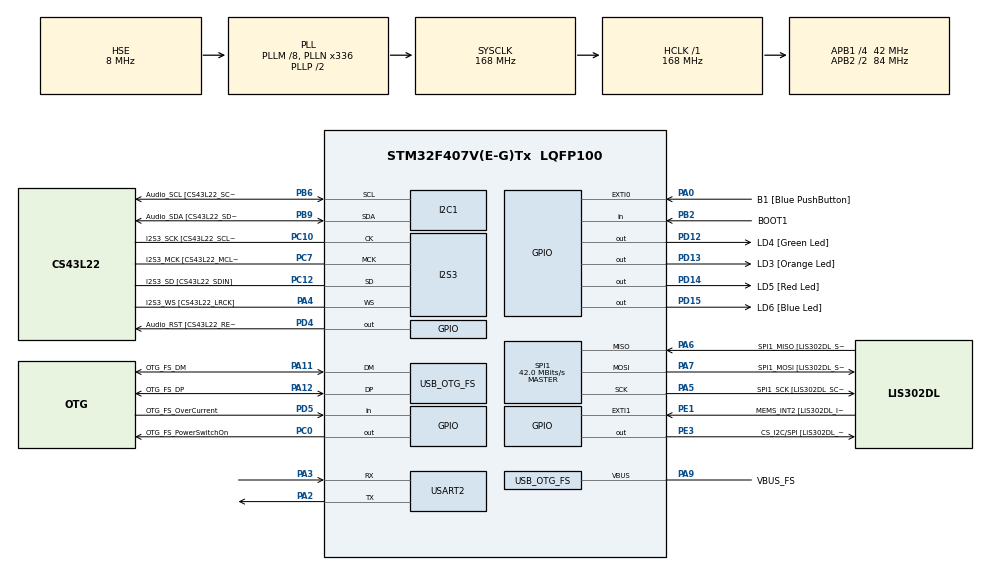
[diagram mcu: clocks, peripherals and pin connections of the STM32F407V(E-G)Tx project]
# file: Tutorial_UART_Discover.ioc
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Dma.Request0=USART2_RX
Dma.Request1=USART2_TX
Dma.USART2_RX.0.Direction=DMA_PERIPH_TO_MEMORY
Dma.USART2_RX.0.FIFOMode=DMA_FIFOMODE_DISABLE
Dma.USART2_RX.0.Instance=DMA1_Stream5
Dma.USART2_RX.0.MemDataAlignment=DMA_MDATAALIGN_BYTE
Dma.USART2_RX.0.MemInc=DMA_MINC_ENABLE
Dma.USART2_RX.0.Mode=DMA_NORMAL
Dma.USART2_RX.0.PeriphDataAlignment=DMA_PDATAALIGN_BYTE
Dma.USART2_RX.0.PeriphInc=DMA_PINC_DISABLE
Dma.USART2_RX.0.Priority=DMA_PRIORITY_LOW
Dma.USART2_TX.1.Direction=DMA_MEMORY_TO_PERIPH
Dma.USART2_TX.1.FIFOMode=DMA_FIFOMODE_DISABLE
Dma.USART2_TX.1.Instance=DMA1_Stream6
Dma.USART2_TX.1.MemDataAlignment=DMA_MDATAALIGN_BYTE
Dma.USART2_TX.1.MemInc=DMA_MINC_ENABLE
Dma.USART2_TX.1.Mode=DMA_NORMAL
Dma.USART2_TX.1.PeriphDataAlignment=DMA_PDATAALIGN_BYTE
Dma.USART2_TX.1.PeriphInc=DMA_PINC_DISABLE
Dma.USART2_TX.1.Priority=DMA_PRIORITY_LOW
I2S3.AudioFreq=I2S_AUDIOFREQ_96K
I2S3.AudioFreq-Half_Duplex_Master=I2S_AUDIOFREQ_96K
I2S3.ErrorAudioFreq=-2.34 %
I2S3.ErrorAudioFreq-Half_Duplex_Master=0.8 %
I2S3.FullDuplexMode=I2S_FULLDUPLEXMODE_DISABLE
I2S3.Instance=SPI$Index
I2S3.RealAudioFreq=93.75 KHz
I2S3.RealAudioFreq-Half_Duplex_Master=96.774 KHz
I2S3.VirtualMode=I2S_MODE_MASTER
Mcu.Family=STM32F4
Mcu.Name=STM32F407V(E-G)Tx
Mcu.Package=LQFP100
NVIC.DMA1_Stream5_IRQn=true\:0\:0\:false\:false\:true\:false\:true\:true
NVIC.DMA1_Stream6_IRQn=true\:0\:0\:false\:false\:true\:false\:true\:true
NVIC.EXTI0_IRQn=true\:0\:0\:false\:false\:true\:true\:true\:true
NVIC.OTG_FS_IRQn=true\:0\:0\:false\:false\:true\:true\:true\:true
NVIC.PriorityGroup=NVIC_PRIORITYGROUP_0
NVIC.USART2_IRQn=true\:0\:0\:false\:false\:true\:true\:true\:true
PA0-WKUP.GPIO_Label=B1 [Blue PushButton]
PA0-WKUP.GPIO_ModeDefaultEXTI=GPIO_MODE_IT_FALLING
PA0-WKUP.Signal=GPXTI0
PA10.GPIO_Label=OTG_FS_ID
PA10.GPIO_Mode=GPIO_MODE_AF_PP
PA10.GPIO_PuPd=GPIO_NOPULL
PA10.GPIO_Speed=GPIO_SPEED_FREQ_LOW
PA10.Signal=USB_OTG_FS_ID
PA11.GPIO_Label=OTG_FS_DM
PA11.GPIO_Mode=GPIO_MODE_AF_PP
PA11.GPIO_PuPd=GPIO_NOPULL
PA11.GPIO_Speed=GPIO_SPEED_FREQ_LOW
PA11.Mode=Host_Only
PA11.Signal=USB_OTG_FS_DM
PA12.GPIO_Label=OTG_FS_DP
PA12.GPIO_Mode=GPIO_MODE_AF_PP
PA12.GPIO_PuPd=GPIO_NOPULL
PA12.GPIO_Speed=GPIO_SPEED_FREQ_LOW
PA12.Mode=Host_Only
PA12.Signal=USB_OTG_FS_DP
PA13.GPIO_Label=SWDIO
PA13.Mode=Serial_Wire
PA13.Signal=SYS_JTMS-SWDIO
PA14.GPIO_Label=SWCLK
PA14.Mode=Serial_Wire
PA14.Signal=SYS_JTCK-SWCLK
PA2.GPIO_Speed=GPIO_SPEED_FREQ_HIGH
PA2.Mode=Asynchronous
PA2.Signal=USART2_TX
PA3.GPIO_Speed=GPIO_SPEED_FREQ_HIGH
PA3.Mode=Asynchronous
PA3.Signal=USART2_RX
PA4.GPIO_Label=I2S3_WS [CS43L22_LRCK]
PA4.GPIO_Mode=GPIO_MODE_AF_PP
PA4.GPIO_PuPd=GPIO_NOPULL
PA4.GPIO_Speed=GPIO_SPEED_FREQ_LOW
PA4.Mode=Half_Duplex_Master
PA4.Signal=I2S3_WS
PA5.GPIO_Label=SPI1_SCK [LIS302DL_SCL/SPC]
PA5.GPIO_Mode=GPIO_MODE_AF_PP
PA5.GPIO_PuPd=GPIO_NOPULL
PA5.GPIO_Speed=GPIO_SPEED_FREQ_LOW
PA5.Mode=Full_Duplex_Master
PA5.Signal=SPI1_SCK
PA6.GPIO_Label=SPI1_MISO [LIS302DL_SDO]
PA6.GPIO_Mode=GPIO_MODE_AF_PP
PA6.GPIO_PuPd=GPIO_NOPULL
PA6.GPIO_Speed=GPIO_SPEED_FREQ_LOW
PA6.Mode=Full_Duplex_Master
PA6.Signal=SPI1_MISO
PA7.GPIO_Label=SPI1_MOSI [LIS302DL_SDA/SDI/SDO]
PA7.GPIO_Mode=GPIO_MODE_AF_PP
PA7.GPIO_PuPd=GPIO_NOPULL
PA7.GPIO_Speed=GPIO_SPEED_FREQ_LOW
PA7.Mode=Full_Duplex_Master
PA7.Signal=SPI1_MOSI
PA9.GPIO_Label=VBUS_FS
PA9.GPIO_Mode=GPIO_MODE_INPUT
PA9.GPIO_PuPd=GPIO_NOPULL
PA9.Mode=Activate_VBUS
PA9.Signal=USB_OTG_FS_VBUS
PB10.GPIO_Label=CLK_IN [MP45DT02_CLK]
PB10.GPIO_Mode=GPIO_MODE_AF_PP
PB10.GPIO_PuPd=GPIO_NOPULL
PB10.GPIO_Speed=GPIO_SPEED_FREQ_LOW
PB10.Signal=I2S2_CK
PB2.GPIO_Label=BOOT1
PB2.GPIO_Mode=GPIO_MODE_INPUT
PB2.GPIO_PuPd=GPIO_NOPULL
PB2.Signal=GPIO_Input
PB3.GPIO_Label=SWO
PB3.Signal=SYS_JTDO-SWO
PB6.GPIO_Label=Audio_SCL [CS43L22_SCL]
PB6.GPIO_Mode=GPIO_MODE_AF_OD
PB6.GPIO_Pu=GPIO_PULLUP
PB6.GPIO_PuPd=GPIO_NOPULL
PB6.GPIO_Speed=GPIO_SPEED_FREQ_LOW
PB6.Mode=I2C
PB6.Signal=I2C1_SCL
PB9.GPIO_Label=Audio_SDA [CS43L22_SDA]
PB9.GPIO_Mode=GPIO_MODE_AF_OD
PB9.GPIO_Pu=GPIO_PULLUP
PB9.GPIO_PuPd=GPIO_NOPULL
PB9.GPIO_Speed=GPIO_SPEED_FREQ_LOW
PB9.Mode=I2C
PB9.Signal=I2C1_SDA
PC0.GPIO_Label=OTG_FS_PowerSwitchOn
PC0.GPIO_PuPd=GPIO_NOPULL
PC0.GPIO_Speed=GPIO_SPEED_FREQ_LOW
PC0.PinState=GPIO_PIN_SET
PC0.Signal=GPIO_Output
PC10.GPIO_Label=I2S3_SCK [CS43L22_SCLK]
PC10.GPIO_Mode=GPIO_MODE_AF_PP
PC10.GPIO_PuPd=GPIO_NOPULL
PC10.GPIO_Speed=GPIO_SPEED_FREQ_LOW
PC10.Mode=Half_Duplex_Master
PC10.Signal=I2S3_CK
PC12.GPIO_Label=I2S3_SD [CS43L22_SDIN]
PC12.GPIO_Mode=GPIO_MODE_AF_PP
PC12.GPIO_PuPd=GPIO_NOPULL
PC12.GPIO_Speed=GPIO_SPEED_FREQ_LOW
PC12.Mode=Half_Duplex_Master
PC12.Signal=I2S3_SD
PC14-OSC32_IN.GPIO_Label=PC14-OSC32_IN
PC14-OSC32_IN.Mode=LSE-External-Oscillator
PC14-OSC32_IN.Signal=RCC_OSC32_IN
PC15-OSC32_OUT.GPIO_Label=PC15-OSC32_OUT
PC15-OSC32_OUT.Mode=LSE-External-Oscillator
PC15-OSC32_OUT.Signal=RCC_OSC32_OUT
PC3.GPIO_Label=PDM_OUT [MP45DT02_DOUT]
PC3.GPIO_Mode=GPIO_MODE_AF_PP
PC3.GPIO_PuPd=GPIO_NOPULL
PC3.GPIO_Speed=GPIO_SPEED_FREQ_LOW
PC3.Signal=I2S2_SD
PC7.GPIO_Label=I2S3_MCK [CS43L22_MCLK]
PC7.GPIO_Mode=GPIO_MODE_AF_PP
PC7.GPIO_PuPd=GPIO_NOPULL
PC7.GPIO_Speed=GPIO_SPEED_FREQ_LOW
PC7.Mode=Master_Clock_Activated
PC7.Signal=I2S3_MCK
PD12.GPIO_Label=LD4 [Green Led]
PD12.GPIO_PuPd=GPIO_NOPULL
PD12.GPIO_Speed=GPIO_SPEED_FREQ_LOW
PD12.Signal=GPIO_Output
PD13.GPIO_Label=LD3 [Orange Led]
PD13.GPIO_PuPd=GPIO_NOPULL
PD13.GPIO_Speed=GPIO_SPEED_FREQ_LOW
PD13.Signal=GPIO_Output
PD14.GPIO_Label=LD5 [Red Led]
PD14.GPIO_PuPd=GPIO_NOPULL
PD14.GPIO_Speed=GPIO_SPEED_FREQ_LOW
PD14.Signal=GPIO_Output
PD15.GPIO_Label=LD6 [Blue Led]
PD15.GPIO_PuPd=GPIO_NOPULL
PD15.GPIO_Speed=GPIO_SPEED_FREQ_LOW
PD15.Signal=GPIO_Output
PD4.GPIO_Label=Audio_RST [CS43L22_RESET]
PD4.GPIO_PuPd=GPIO_NOPULL
PD4.GPIO_Speed=GPIO_SPEED_FREQ_LOW
PD4.Signal=GPIO_Output
PD5.GPIO_Label=OTG_FS_OverCurrent
PD5.GPIO_Mode=GPIO_MODE_INPUT
PD5.GPIO_PuPd=GPIO_NOPULL
PD5.Signal=GPIO_Input
PE1.GPIO_Label=MEMS_INT2 [LIS302DL_INT2]
PE1.GPIO_ModeDefaultEXTI=GPIO_MODE_EVT_RISING
PE1.GPIO_PuPd=GPIO_NOPULL
PE1.Signal=GPXTI1
PE3.GPIO_Label=CS_I2C/SPI [LIS302DL_CS_I2C/SPI]
PE3.GPIO_PuPd=GPIO_NOPULL
PE3.GPIO_Speed=GPIO_SPEED_FREQ_LOW
PE3.Signal=GPIO_Output
PH0-OSC_IN.GPIO_Label=PH0-OSC_IN
PH0-OSC_IN.Mode=HSE-External-Oscillator
PH0-OSC_IN.Signal=RCC_OSC_IN
PH1-OSC_OUT.GPIO_Label=PH1-OSC_OUT
PH1-OSC_OUT.Mode=HSE-External-Oscillator
PH1-OSC_OUT.Signal=RCC_OSC_OUT
ProjectManager.HeapSize=0x200
ProjectManager.StackSize=0x400
ProjectManager.TargetToolchain=STM32CubeIDE
RCC.48MHZClocksFreq_Value=48000000
RCC.AHBFreq_Value=168000000
RCC.APB1CLKDivider=RCC_HCLK_DIV4
RCC.APB1Freq_Value=42000000
RCC.APB1TimFreq_Value=84000000
RCC.APB2CLKDivider=RCC_HCLK_DIV2
RCC.APB2Freq_Value=84000000
RCC.APB2TimFreq_Value=168000000
RCC.CortexFreq_Value=168000000
RCC.HCLKFreq_Value=168000000
RCC.HSE_VALUE=8000000
RCC.HSI_VALUE=16000000
RCC.PLLM=8
RCC.PLLN=336
RCC.PLLQ=7
RCC.SYSCLKFreq_VALUE=168000000
RCC.SYSCLKSource=RCC_SYSCLKSOURCE_PLLCLK
RCC.VCOOutputFreq_Value=336000000
SPI1.BaudRatePrescaler-Full_Duplex_Master=SPI_BAUDRATEPRESCALER_2
SPI1.CalculateBaudRate=42.0 MBits/s
SPI1.CalculateBaudRate-Full_Duplex_Master=42.0 MBits/s
SPI1.Direction=SPI_DIRECTION_2LINES
SPI1.Mode=SPI_MODE_MASTER
SPI1.Mode-Full_Duplex_Master=SPI_MODE_MASTER
SPI1.VirtualType=VM_MASTER
USART2.VirtualMode=VM_ASYNC
USB_HOST.BSP.number=1
USB_HOST.USBH_HandleTypeDef-CDC_FS=hUsbHostFS
USB_HOST.VirtualModeFS=Cdc
USB_HOST0.BSP.STBoard=false
USB_HOST0.BSP.api=Unknown
USB_HOST0.BSP.instance=PC0
USB_HOST0.BSP.ip=GPIO
USB_HOST0.BSP.mode=Output
USB_HOST0.BSP.name=Drive_VBUS_FS
USB_HOST0.BSP.solution=PC0
USB_OTG_FS.VirtualMode=Host_Only
USB_OTG_FS.phy_itface=HCD_PHY_EMBEDDED
VP_USB_HOST_VS_USB_HOST_CDC_FS.Mode=CDC_FS
board=STM32F407G-DISC1

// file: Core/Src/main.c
/* USER CODE BEGIN Header */
/**
  ******************************************************************************
  * @file           : main.c
  * @brief          : Main program body
  ******************************************************************************
  * @attention
  *
  * Copyright (c) 2024 STMicroelectronics.
  * All rights reserved.
  *
  * This software is licensed under terms that can be found in the LICENSE file
  * in the root directory of this software component.
  * If no LICENSE file comes with this software, it is provided AS-IS.
  *
  ******************************************************************************
  */
/* USER CODE END Header */
#include "main.h"
#include "usb_host.h"

I2C_HandleTypeDef hi2c1;

I2S_HandleTypeDef hi2s3;

SPI_HandleTypeDef hspi1;

UART_HandleTypeDef huart2;
DMA_HandleTypeDef hdma_usart2_rx;
DMA_HandleTypeDef hdma_usart2_tx;

void SystemClock_Config(void);
static void MX_GPIO_Init(void);
static void MX_DMA_Init(void);
static void MX_I2C1_Init(void);
static void MX_I2S3_Init(void);
static void MX_SPI1_Init(void);
static void MX_USART2_UART_Init(void);
void MX_USB_HOST_Process(void);

/* USER CODE BEGIN 0 */
uint8_t rxData;
uint8_t counter = 0;
uint8_t readyToReceive = 0;
volatile uint8_t rx_complete = 0;
volatile uint8_t tx_complete = 0;
volatile uint8_t buttonPressed = 0;
uint32_t last_interrupt_time = 0;
char tabelaEquipe[3][100] = {"\nMaria Luiza, Matricula", "\nEduardo, Matricula1", "\nMarcos, Matricula2"};

void restart_uart(UART_HandleTypeDef *huart) {
	__HAL_UART_DISABLE(huart);

	HAL_UART_DeInit(huart);
	HAL_UART_Init(huart);

	__HAL_UART_ENABLE(huart);
}

void init_transmit_DMA(void) {
        if (rx_complete) {
            HAL_UART_Receive_IT(&huart2, &readyToReceive, sizeof(readyToReceive));
            if (readyToReceive == 0x5A){
            	HAL_UART_Transmit_DMA(&huart2, (uint8_t *)tabelaEquipe, sizeof(tabelaEquipe));
            	HAL_Delay(1000);

            	rx_complete = 0;
            	readyToReceive = 0;
            	rxData = 0;
            	counter = 0;

            	restart_uart(&huart2);
                HAL_UART_Receive_IT(&huart2, &rxData, sizeof(rxData));
            }
        }
}

/* USER CODE END 0 */

int main(void)
{

  /* MCU Configuration--------------------------------------------------------*/

  /* Reset of all peripherals, Initializes the Flash interface and the Systick. */
  HAL_Init();

  /* Configure the system clock */
  SystemClock_Config();

  /* Initialize all configured peripherals */
  MX_GPIO_Init();
  MX_DMA_Init();
  MX_I2C1_Init();
  MX_I2S3_Init();
  MX_SPI1_Init();
  MX_USB_HOST_Init();
  MX_USART2_UART_Init();
  /* USER CODE BEGIN 2 */
  HAL_UART_Receive_IT(&huart2, &rxData, sizeof(rxData));
  /* USER CODE END 2 */

  /* Infinite loop */
  /* USER CODE BEGIN WHILE */
  while (1)
  {
    MX_USB_HOST_Process();
    /* USER CODE BEGIN 3 */

    init_transmit_DMA();
   /* USER CODE END 3 */
  }
    /* USER CODE END WHILE */
}

void SystemClock_Config(void)
{
  RCC_OscInitTypeDef RCC_OscInitStruct = {0};
  RCC_ClkInitTypeDef RCC_ClkInitStruct = {0};

  /** Configure the main internal regulator output voltage
  */
  __HAL_RCC_PWR_CLK_ENABLE();
  __HAL_PWR_VOLTAGESCALING_CONFIG(PWR_REGULATOR_VOLTAGE_SCALE1);

  /** Initializes the RCC Oscillators according to the specified parameters
  * in the RCC_OscInitTypeDef structure.
  */
  RCC_OscInitStruct.OscillatorType = RCC_OSCILLATORTYPE_HSE;
  RCC_OscInitStruct.HSEState = RCC_HSE_ON;
  RCC_OscInitStruct.PLL.PLLState = RCC_PLL_ON;
  RCC_OscInitStruct.PLL.PLLSource = RCC_PLLSOURCE_HSE;
  RCC_OscInitStruct.PLL.PLLM = 8;
  RCC_OscInitStruct.PLL.PLLN = 336;
  RCC_OscInitStruct.PLL.PLLP = RCC_PLLP_DIV2;
  RCC_OscInitStruct.PLL.PLLQ = 7;
  if (HAL_RCC_OscConfig(&RCC_OscInitStruct) != HAL_OK)
  {
    Error_Handler();
  }

  /** Initializes the CPU, AHB and APB buses clocks
  */
  RCC_ClkInitStruct.ClockType = RCC_CLOCKTYPE_HCLK|RCC_CLOCKTYPE_SYSCLK
                              |RCC_CLOCKTYPE_PCLK1|RCC_CLOCKTYPE_PCLK2;
  RCC_ClkInitStruct.SYSCLKSource = RCC_SYSCLKSOURCE_PLLCLK;
  RCC_ClkInitStruct.AHBCLKDivider = RCC_SYSCLK_DIV1;
  RCC_ClkInitStruct.APB1CLKDivider = RCC_HCLK_DIV4;
  RCC_ClkInitStruct.APB2CLKDivider = RCC_HCLK_DIV2;

  if (HAL_RCC_ClockConfig(&RCC_ClkInitStruct, FLASH_LATENCY_5) != HAL_OK)
  {
    Error_Handler();
  }
}

static void MX_I2C1_Init(void)
{

  hi2c1.Instance = I2C1;
  hi2c1.Init.ClockSpeed = 100000;
  hi2c1.Init.DutyCycle = I2C_DUTYCYCLE_2;
  hi2c1.Init.OwnAddress1 = 0;
  hi2c1.Init.AddressingMode = I2C_ADDRESSINGMODE_7BIT;
  hi2c1.Init.DualAddressMode = I2C_DUALADDRESS_DISABLE;
  hi2c1.Init.OwnAddress2 = 0;
  hi2c1.Init.GeneralCallMode = I2C_GENERALCALL_DISABLE;
  hi2c1.Init.NoStretchMode = I2C_NOSTRETCH_DISABLE;
  if (HAL_I2C_Init(&hi2c1) != HAL_OK)
  {
    Error_Handler();
  }

}

static void MX_I2S3_Init(void)
{

  hi2s3.Instance = SPI3;
  hi2s3.Init.Mode = I2S_MODE_MASTER_TX;
  hi2s3.Init.Standard = I2S_STANDARD_PHILIPS;
  hi2s3.Init.DataFormat = I2S_DATAFORMAT_16B;
  hi2s3.Init.MCLKOutput = I2S_MCLKOUTPUT_ENABLE;
  hi2s3.Init.AudioFreq = I2S_AUDIOFREQ_96K;
  hi2s3.Init.CPOL = I2S_CPOL_LOW;
  hi2s3.Init.ClockSource = I2S_CLOCK_PLL;
  hi2s3.Init.FullDuplexMode = I2S_FULLDUPLEXMODE_DISABLE;
  if (HAL_I2S_Init(&hi2s3) != HAL_OK)
  {
    Error_Handler();
  }

}

static void MX_SPI1_Init(void)
{

  /* SPI1 parameter configuration*/
  hspi1.Instance = SPI1;
  hspi1.Init.Mode = SPI_MODE_MASTER;
  hspi1.Init.Direction = SPI_DIRECTION_2LINES;
  hspi1.Init.DataSize = SPI_DATASIZE_8BIT;
  hspi1.Init.CLKPolarity = SPI_POLARITY_LOW;
  hspi1.Init.CLKPhase = SPI_PHASE_1EDGE;
  hspi1.Init.NSS = SPI_NSS_SOFT;
  hspi1.Init.BaudRatePrescaler = SPI_BAUDRATEPRESCALER_2;
  hspi1.Init.FirstBit = SPI_FIRSTBIT_MSB;
  hspi1.Init.TIMode = SPI_TIMODE_DISABLE;
  hspi1.Init.CRCCalculation = SPI_CRCCALCULATION_DISABLE;
  hspi1.Init.CRCPolynomial = 10;
  if (HAL_SPI_Init(&hspi1) != HAL_OK)
  {
    Error_Handler();
  }

}

static void MX_USART2_UART_Init(void)
{

  huart2.Instance = USART2;
  huart2.Init.BaudRate = 115200;
  huart2.Init.WordLength = UART_WORDLENGTH_8B;
  huart2.Init.StopBits = UART_STOPBITS_1;
  huart2.Init.Parity = UART_PARITY_NONE;
  huart2.Init.Mode = UART_MODE_TX_RX;
  huart2.Init.HwFlowCtl = UART_HWCONTROL_NONE;
  huart2.Init.OverSampling = UART_OVERSAMPLING_16;
  if (HAL_UART_Init(&huart2) != HAL_OK)
  {
    Error_Handler();
  }

}

static void MX_DMA_Init(void)
{

  /* DMA controller clock enable */
  __HAL_RCC_DMA1_CLK_ENABLE();

  /* DMA interrupt init */
  /* DMA1_Stream5_IRQn interrupt configuration */
  HAL_NVIC_SetPriority(DMA1_Stream5_IRQn, 0, 0);
  HAL_NVIC_EnableIRQ(DMA1_Stream5_IRQn);
  /* DMA1_Stream6_IRQn interrupt configuration */
  HAL_NVIC_SetPriority(DMA1_Stream6_IRQn, 0, 0);
  HAL_NVIC_EnableIRQ(DMA1_Stream6_IRQn);

}

static void MX_GPIO_Init(void)
{
  GPIO_InitTypeDef GPIO_InitStruct = {0};

  /* GPIO Ports Clock Enable */
  __HAL_RCC_GPIOE_CLK_ENABLE();
  __HAL_RCC_GPIOC_CLK_ENABLE();
  __HAL_RCC_GPIOH_CLK_ENABLE();
  __HAL_RCC_GPIOA_CLK_ENABLE();
  __HAL_RCC_GPIOB_CLK_ENABLE();
  __HAL_RCC_GPIOD_CLK_ENABLE();

  /*Configure GPIO pin Output Level */
  HAL_GPIO_WritePin(CS_I2C_SPI_GPIO_Port, CS_I2C_SPI_Pin, GPIO_PIN_RESET);

  /*Configure GPIO pin Output Level */
  HAL_GPIO_WritePin(OTG_FS_PowerSwitchOn_GPIO_Port, OTG_FS_PowerSwitchOn_Pin, GPIO_PIN_SET);

  /*Configure GPIO pin Output Level */
  HAL_GPIO_WritePin(GPIOD, LD4_Pin|LD3_Pin|LD5_Pin|LD6_Pin
                          |Audio_RST_Pin, GPIO_PIN_RESET);

  /*Configure GPIO pin : CS_I2C_SPI_Pin */
  GPIO_InitStruct.Pin = CS_I2C_SPI_Pin;
  GPIO_InitStruct.Mode = GPIO_MODE_OUTPUT_PP;
  GPIO_InitStruct.Pull = GPIO_NOPULL;
  GPIO_InitStruct.Speed = GPIO_SPEED_FREQ_LOW;
  HAL_GPIO_Init(CS_I2C_SPI_GPIO_Port, &GPIO_InitStruct);

  /*Configure GPIO pin : OTG_FS_PowerSwitchOn_Pin */
  GPIO_InitStruct.Pin = OTG_FS_PowerSwitchOn_Pin;
  GPIO_InitStruct.Mode = GPIO_MODE_OUTPUT_PP;
  GPIO_InitStruct.Pull = GPIO_NOPULL;
  GPIO_InitStruct.Speed = GPIO_SPEED_FREQ_LOW;
  HAL_GPIO_Init(OTG_FS_PowerSwitchOn_GPIO_Port, &GPIO_InitStruct);

  /*Configure GPIO pin : PDM_OUT_Pin */
  GPIO_InitStruct.Pin = PDM_OUT_Pin;
  GPIO_InitStruct.Mode = GPIO_MODE_AF_PP;
  GPIO_InitStruct.Pull = GPIO_NOPULL;
  GPIO_InitStruct.Speed = GPIO_SPEED_FREQ_LOW;
  GPIO_InitStruct.Alternate = GPIO_AF5_SPI2;
  HAL_GPIO_Init(PDM_OUT_GPIO_Port, &GPIO_InitStruct);

  /*Configure GPIO pin : B1_Pin */
  GPIO_InitStruct.Pin = B1_Pin;
  GPIO_InitStruct.Mode = GPIO_MODE_IT_FALLING;
  GPIO_InitStruct.Pull = GPIO_NOPULL;
  HAL_GPIO_Init(B1_GPIO_Port, &GPIO_InitStruct);

  /*Configure GPIO pin : BOOT1_Pin */
  GPIO_InitStruct.Pin = BOOT1_Pin;
  GPIO_InitStruct.Mode = GPIO_MODE_INPUT;
  GPIO_InitStruct.Pull = GPIO_NOPULL;
  HAL_GPIO_Init(BOOT1_GPIO_Port, &GPIO_InitStruct);

  /*Configure GPIO pin : CLK_IN_Pin */
  GPIO_InitStruct.Pin = CLK_IN_Pin;
  GPIO_InitStruct.Mode = GPIO_MODE_AF_PP;
  GPIO_InitStruct.Pull = GPIO_NOPULL;
  GPIO_InitStruct.Speed = GPIO_SPEED_FREQ_LOW;
  GPIO_InitStruct.Alternate = GPIO_AF5_SPI2;
  HAL_GPIO_Init(CLK_IN_GPIO_Port, &GPIO_InitStruct);

  /*Configure GPIO pins : LD4_Pin LD3_Pin LD5_Pin LD6_Pin
                           Audio_RST_Pin */
  GPIO_InitStruct.Pin = LD4_Pin|LD3_Pin|LD5_Pin|LD6_Pin
                          |Audio_RST_Pin;
  GPIO_InitStruct.Mode = GPIO_MODE_OUTPUT_PP;
  GPIO_InitStruct.Pull = GPIO_NOPULL;
  GPIO_InitStruct.Speed = GPIO_SPEED_FREQ_LOW;
  HAL_GPIO_Init(GPIOD, &GPIO_InitStruct);

  /*Configure GPIO pin : OTG_FS_OverCurrent_Pin */
  GPIO_InitStruct.Pin = OTG_FS_OverCurrent_Pin;
  GPIO_InitStruct.Mode = GPIO_MODE_INPUT;
  GPIO_InitStruct.Pull = GPIO_NOPULL;
  HAL_GPIO_Init(OTG_FS_OverCurrent_GPIO_Port, &GPIO_InitStruct);

  /*Configure GPIO pin : MEMS_INT2_Pin */
  GPIO_InitStruct.Pin = MEMS_INT2_Pin;
  GPIO_InitStruct.Mode = GPIO_MODE_EVT_RISING;
  GPIO_InitStruct.Pull = GPIO_NOPULL;
  HAL_GPIO_Init(MEMS_INT2_GPIO_Port, &GPIO_InitStruct);

  /* EXTI interrupt init*/
  HAL_NVIC_SetPriority(EXTI0_IRQn, 0, 0);
  HAL_NVIC_EnableIRQ(EXTI0_IRQn);

}

/* USER CODE BEGIN 4 */
void HAL_GPIO_EXTI_Callback(uint16_t GPIO_Pin) {
    uint32_t current_time = HAL_GetTick(); // Obtém o tempo atual em milissegundos
    if ((current_time - last_interrupt_time) < 200) // 200ms de "debounce"
    {
        return;
    }
    last_interrupt_time = current_time;
    if (GPIO_Pin == GPIO_PIN_0) {
        counter++;
    }
}

void HAL_UART_RxCpltCallback(UART_HandleTypeDef *huart) {
    if (huart == &huart2) {
    	if (rxData == 0x5A && readyToReceive != 0x5A) {
        rx_complete = 1;
        HAL_UART_Transmit_IT(&huart2, &counter, sizeof(counter));
    	}
    	if(counter == 0){
    		HAL_UART_Receive_IT(&huart2, &rxData, sizeof(rxData));
    	}
    }
}
/* USER CODE END 4 */

void Error_Handler(void)
{
  __disable_irq();
  while (1)
  {
  }
}
